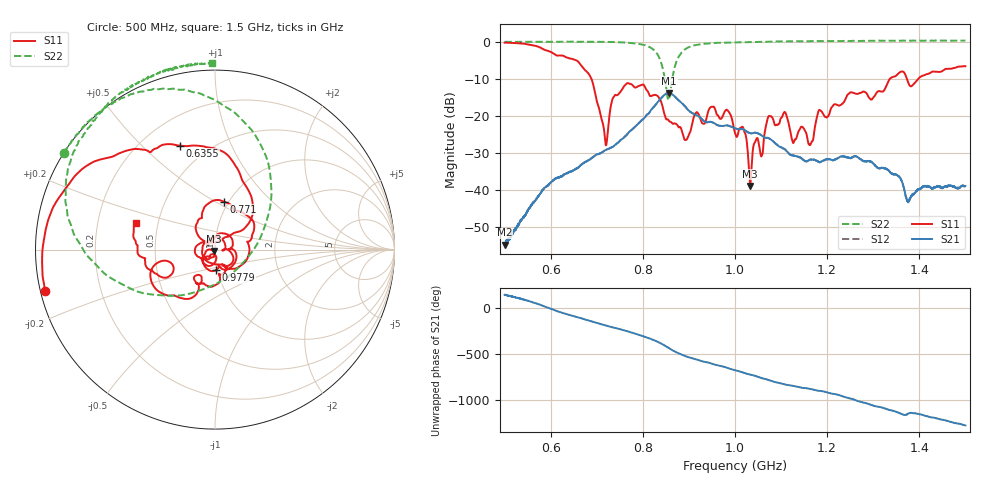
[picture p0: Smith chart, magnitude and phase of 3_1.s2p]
!Keysight Technologies,N5242B,MY48420860,A.13.80.08
!Date: Saturday, September 26, 2020 11:48:59
!Correction: S11(Full 2 Port(1,2))
!S21(Full 2 Port(1,2))
!S12(Full 2 Port(1,2))
!S22(Full 2 Port(1,2))
!S2P File: Measurements: S11, S21, S12, S22:
# Hz S  dB  R 50
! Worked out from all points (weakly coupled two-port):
!   2650 points, 500 MHz to 1.5 GHz, reference 50 ohm
!   highest |S21| = -13.83 dB at 856.7 MHz (marker M1); lowest = -54.8 dB at 500.4 MHz (marker M2)
!   lowest |S11| = -39.0 dB at 1.033 GHz (marker M3), VSWR 1.02, Z = 49.2 - j0.815 ohm
!   |S11| at or under -10 dB: 688.4 MHz to 1.336 GHz (647.7 MHz wide, 64 % of centre); 1.373 GHz to 1.397 GHz (24.41 MHz wide, 1.76 % of centre)
!   |S22| runs from -15.8 to 0.4 dB; largest |S21 - S12| = 0.00061
!   S11 on the Smith chart (normalised r, x): 500 MHz: 0.01, -0.12; 635.5 MHz: 0.35, +0.66; 771 MHz: 0.95, +0.55; 977.9 MHz: 0.98, -0.23; 1.5 GHz: 0.37, +0.14
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5e8  -0.22 -166.2  -54.66 143.6  -54.32 143.1  -0.01 147.4
5.003775e8  -0.23 -166.4  -54.78 146.3  -54.70 148.4  -0.00 147.4
5.758777e8  -1.47 145.5  -41.28 38.1  -41.34 37.8  0.01 141.5
6.355228e8  -4.27 108.7  -35.45 -67.7  -35.54 -68.1  0.02 136.0
6.668554e8  -6.48 75.4  -33.16 -111.2  -33.19 -111.2  0.02 132.7
7.197055e8  -27.94 89.9  -29.22 170.7  -29.22 170.7  -0.01 125.8
7.359381e8  -15.02 124.5  -28.29 149.6  -28.29 149.7  -0.06 122.8
7.710457e8  -11.32 79.7  -24.27 102.3  -24.28 102.2  -0.29 114.2
8.337108e8  -14.87 -23.1  -16.07 -8.9  -16.09 -8.9  -3.78 67.6
8.567384e8  -21.39 -75.6  -13.83 -74.0  -13.84 -74.1  -15.54 -64.0
8.929785e8  -26.52 109.7  -17.65 -161.7  -17.67 -161.7  -1.94 172.4
9.156285e8  -19.15 44.8  -19.79 164.5  -19.81 164.4  -0.85 156.4
9.779162e8  -18.79 -87.5  -22.64 81.5  -22.65 81.5  -0.23 138.6
1.000189e9  -24.67 -139.2  -23.35 47.0  -23.36 46.9  -0.18 135.2
1.019819e9  -24.11 -156.2  -23.78 18.1  -23.80 18.1  -0.13 132.7
1.033031e9  -38.95 -132.8  -24.68 0.5  -24.72 0.5  -0.07 131.3
1.075311e9  -20.08 -123.1  -26.18 -62.9  -26.20 -63.1  0.04 126.8
1.166667e9  -26.94 -4.2  -31.79 -159.0  -31.80 -159.1  0.16 118.3
1.183654e9  -18.39 -40.0  -32.47 -176.4  -32.57 -176.5  0.21 116.7
1.333522e9  -10.49 -115.8  -34.77 -20.7  -34.81 -20.9  0.33 104.7
1.375802e9  -10.95 -167.4  -43.38 -62.6  -43.09 -62.2  0.31 101.5
1.5e9  -6.60 161.2  -38.96 169.4  -38.95 169.9  0.32 91.0
